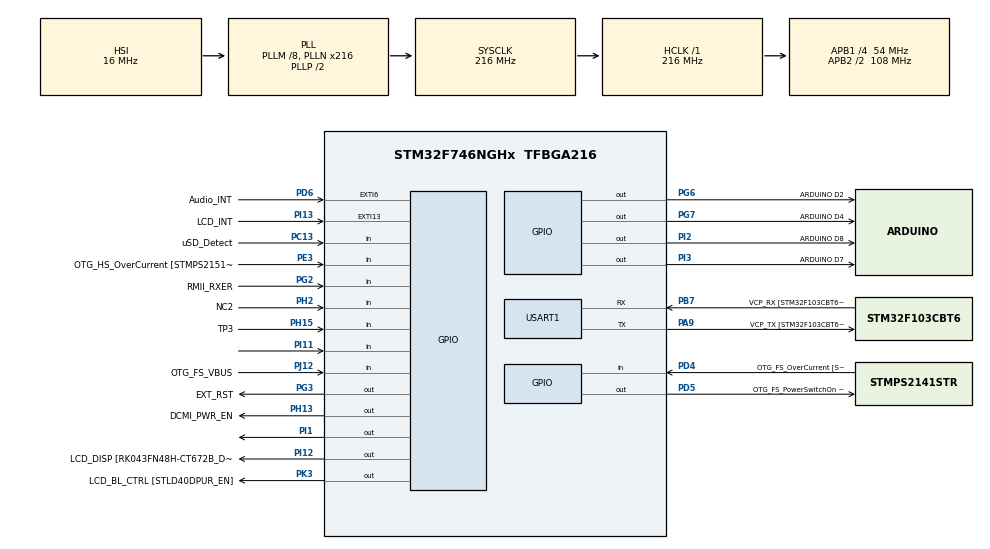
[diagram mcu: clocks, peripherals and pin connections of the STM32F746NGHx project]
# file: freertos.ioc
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FREERTOS.Tasks01=defaultTask,0,128,StartDefaultTask,Default,NULL,Dynamic,NULL,NULL;LEDTASK,0,128,LEDtask,Default,NULL,Dynamic,NULL,NULL;TaskGIVE,-3,128,StartTaskGive,Default,NULL,Dynamic,NULL,NULL;TaskTAKE,-3,128,SartTaskTakes,Default,NULL,Dynamic,NULL,NULL;myTask,-3,128,StartTask,Default,NULL,Dynamic,NULL,NULL
Mcu.Family=STM32F7
Mcu.Name=STM32F746NGHx
Mcu.Package=TFBGA216
NVIC.PriorityGroup=NVIC_PRIORITYGROUP_4
PA0/WKUP.GPIO_Label=ARDUINO A0
PA0/WKUP.GPIO_Mode=GPIO_MODE_ANALOG
PA0/WKUP.GPIO_PuPd=GPIO_NOPULL
PA0/WKUP.Signal=ADCx_IN0
PA1.GPIO_Label=RMII_REF_CLK [LAN8742A-CZ-TR_REFCLK0]
PA1.Signal=ETH_REF_CLK
PA10.GPIO_Label=OTG_FS_ID
PA10.Signal=USB_OTG_FS_ID
PA11.GPIO_Label=OTG_FS_N
PA11.Signal=USB_OTG_FS_DM
PA12.GPIO_Label=OTG_FS_P
PA12.Signal=USB_OTG_FS_DP
PA13.GPIO_Label=SWDIO
PA13.Mode=Trace_Asynchronous_SW
PA13.Signal=SYS_JTMS-SWDIO
PA14.GPIO_Label=SWCLK
PA14.Mode=Trace_Asynchronous_SW
PA14.Signal=SYS_JTCK-SWCLK
PA15.GPIO_Label=ARDUINO PWM/D9
PA15.GPIO_ModeDefaultPP=GPIO_MODE_AF_PP
PA15.GPIO_PuPd=GPIO_NOPULL
PA15.GPIO_Speed=GPIO_SPEED_FREQ_LOW
PA15.Signal=S_TIM2_CH1_ETR
PA4.GPIO_Label=DCMI_HSYNC
PA4.Signal=DCMI_HSYNC
PA5.GPIO_Label=ULPI_CLK [USB3320C-EZK_CLKOUT]
PA5.Signal=USB_OTG_HS_ULPI_CK
PA6.Signal=DCMI_PIXCLK
PA7.GPIO_Label=RMII_CRS_DV [LAN8742A-CZ-TR_CRS_DV]
PA7.Signal=ETH_CRS_DV
PA8.GPIO_Label=ARDUINO PWM/D10
PA8.GPIO_ModeDefaultPP=GPIO_MODE_AF_PP
PA8.GPIO_PuPd=GPIO_NOPULL
PA8.GPIO_Speed=GPIO_SPEED_FREQ_LOW
PA8.Signal=S_TIM1_CH1
PA9.GPIO_Label=VCP_TX [STM32F103CBT6_PA3]
PA9.GPIO_Mode=GPIO_MODE_AF_PP
PA9.GPIO_PuPd=GPIO_NOPULL
PA9.GPIO_Speed=GPIO_SPEED_FREQ_LOW
PA9.Mode=Asynchronous
PA9.Signal=USART1_TX
PB0.GPIO_Label=ULPI_D1 [USB3320C-EZK_D1]
PB0.Signal=USB_OTG_HS_ULPI_D1
PB1.GPIO_Label=ULPI_D2 [USB3320C-EZK_D2]
PB1.Signal=USB_OTG_HS_ULPI_D2
PB10.GPIO_Label=ULPI_D3 [USB3320C-EZK_D3]
PB10.Signal=USB_OTG_HS_ULPI_D3
PB11.GPIO_Label=ULPI_D4 [USB3320C-EZK_D4]
PB11.Signal=USB_OTG_HS_ULPI_D4
PB12.GPIO_Label=ULPI_D5 [USB3320C-EZK_D5]
PB12.Signal=USB_OTG_HS_ULPI_D5
PB13.GPIO_Label=ULPI_D6 [USB3320C-EZK_D6]
PB13.Signal=USB_OTG_HS_ULPI_D6
PB14.GPIO_Label=ARDUINO MISO/D12
PB14.GPIO_Mode=GPIO_MODE_AF_PP
PB14.GPIO_PuPd=GPIO_NOPULL
PB14.GPIO_Speed=GPIO_SPEED_FREQ_LOW
PB14.Signal=SPI2_MISO
PB15.GPIO_Label=ARDUINO MOSI/PWM/D11
PB15.GPIO_Mode=GPIO_MODE_AF_PP
PB15.GPIO_PuPd=GPIO_NOPULL
PB15.GPIO_Speed=GPIO_SPEED_FREQ_LOW
PB15.Signal=SPI2_MOSI
PB2.Signal=QUADSPI_CLK
PB3.GPIO_Label=SWO
PB3.Mode=Trace_Asynchronous_SW
PB3.Signal=SYS_JTDO-SWO
PB4.GPIO_Label=ARDUINO PWM/D3
PB4.GPIO_ModeDefaultPP=GPIO_MODE_AF_PP
PB4.GPIO_PuPd=GPIO_NOPULL
PB4.GPIO_Speed=GPIO_SPEED_FREQ_LOW
PB4.Signal=S_TIM3_CH1
PB5.GPIO_Label=ULPI_D7 [USB3320C-EZK_D7]
PB5.Signal=USB_OTG_HS_ULPI_D7
PB6.GPIO_Label=QSPI_NCS [N25Q128A13EF840E_S]
PB6.Signal=QUADSPI_BK1_NCS
PB7.GPIO_Label=VCP_RX [STM32F103CBT6_PA2]
PB7.GPIO_Mode=GPIO_MODE_AF_PP
PB7.GPIO_PuPd=GPIO_NOPULL
PB7.GPIO_Speed=GPIO_SPEED_FREQ_LOW
PB7.Mode=Asynchronous
PB7.Signal=USART1_RX
PB8.GPIO_Label=ARDUINO SCL/D15
PB8.GPIO_Mode=GPIO_MODE_AF_OD
PB8.GPIO_PuPd=GPIO_NOPULL
PB8.GPIO_Speed=GPIO_SPEED_FREQ_LOW
PB8.Signal=I2C1_SCL
PB9.GPIO_Label=ARDUINO SDA/D14
PB9.GPIO_Mode=GPIO_MODE_AF_OD
PB9.GPIO_PuPd=GPIO_NOPULL
PB9.GPIO_Speed=GPIO_SPEED_FREQ_LOW
PB9.Signal=I2C1_SDA
PC0.GPIO_Label=ULPI_STP [USB3320C-EZK_STP]
PC0.Signal=USB_OTG_HS_ULPI_STP
PC1.GPIO_Label=RMII_MDC [LAN8742A-CZ-TR_MDC]
PC1.Signal=ETH_MDC
PC10.GPIO_Label=SDMMC_D2
PC10.Signal=SDMMC1_D2
PC11.GPIO_Label=SDMMC_D3
PC11.Signal=SDMMC1_D3
PC12.GPIO_Label=SDMMC_CK
PC12.Signal=SDMMC1_CK
PC13.GPIO_Label=uSD_Detect
PC13.Signal=GPIO_Input
PC14/OSC32_IN.GPIO_Label=RCC_OSC32_IN
PC14/OSC32_IN.Signal=RCC_OSC32_IN
PC15/OSC32_OUT.GPIO_Label=RCC_OSC32_OUT
PC15/OSC32_OUT.Signal=RCC_OSC32_OUT
PC2.GPIO_Label=ULPI_DIR [USB3320C-EZK_DIR]
PC2.Signal=USB_OTG_HS_ULPI_DIR
PC3.GPIO_Label=FMC_SDCKE0 [MT48LC4M32B2B5-6A_CKE]
PC3.Signal=FMC_SDCKE0
PC4.GPIO_Label=RMII_RXD0 [LAN8742A-CZ-TR_RXD0]
PC4.Signal=ETH_RXD0
PC5.GPIO_Label=RMII_RXD1 [LAN8742A-CZ-TR_RXD1]
PC5.Signal=ETH_RXD1
PC6.GPIO_Label=ARDUINO TX/D1
PC6.Signal=USART6_TX
PC7.GPIO_Label=ARDUINO RX/D0
PC7.Signal=USART6_RX
PC8.Signal=SDMMC1_D0
PC9.Signal=SDMMC1_D1
PD0.GPIO_Label=FMC_D2 [MT48LC4M32B2B5-6A_DQ2]
PD0.Signal=FMC_D2_DA2
PD1.GPIO_Label=FMC_D3 [MT48LC4M32B2B5-6A_DQ3]
PD1.Signal=FMC_D3_DA3
PD10.GPIO_Label=FMC_D15 [MT48LC4M32B2B5-6A_DQ15]
PD10.Signal=FMC_D15_DA15
PD11.GPIO_Label=QSPI_D0 [N25Q128A13EF840E_DQ0]
PD11.Signal=QUADSPI_BK1_IO0
PD12.GPIO_Label=QSPI_D1 [N25Q128A13EF840E_DQ1]
PD12.Signal=QUADSPI_BK1_IO1
PD13.GPIO_Label=QSPI_D3 [N25Q128A13EF840E_DQ3]
PD13.Signal=QUADSPI_BK1_IO3
PD14.GPIO_Label=FMC_D0 [MT48LC4M32B2B5-6A_DQ0]
PD14.Signal=FMC_D0_DA0
PD15.GPIO_Label=FMC_D1 [MT48LC4M32B2B5-6A_DQ1]
PD15.Signal=FMC_D1_DA1
PD2.GPIO_Label=SDMMC_D0
PD2.Signal=SDMMC1_CMD
PD3.GPIO_Label=DCMI_D5
PD3.Signal=DCMI_D5
PD4.GPIO_Label=OTG_FS_OverCurrent [STMPS2141STR_Fault]
PD4.Signal=GPIO_Input
PD5.GPIO_Label=OTG_FS_PowerSwitchOn [STMPS2141STR_EN]
PD5.PinState=GPIO_PIN_SET
PD5.Signal=GPIO_Output
PD6.GPIO_Label=Audio_INT
PD6.GPIO_ModeDefaultEXTI=GPIO_MODE_EVT_RISING
PD6.Signal=GPXTI6
PD7.GPIO_Label=SPDIF_RX0 [74LVC1G04SE_4]
PD7.Signal=SPDIFRX_IN0
PD8.GPIO_Label=FMC_D13 [MT48LC4M32B2B5-6A_DQ13]
PD8.Signal=FMC_D13_DA13
PD9.GPIO_Label=FMC_D14 [MT48LC4M32B2B5-6A_DQ14]
PD9.Signal=FMC_D14_DA14
PE0.GPIO_Label=FMC_NBL0 [MT48LC4M32B2B5-6A_DQM0]
PE0.Signal=FMC_NBL0
PE1.GPIO_Label=FMC_NBL1 [MT48LC4M32B2B5-6A_DQM1]
PE1.Signal=FMC_NBL1
PE10.GPIO_Label=FMC_D7 [MT48LC4M32B2B5-6A_DQ7]
PE10.Signal=FMC_D7_DA7
PE11.GPIO_Label=FMC_D8 [MT48LC4M32B2B5-6A_DQ8]
PE11.Signal=FMC_D8_DA8
PE12.GPIO_Label=FMC_D9 [MT48LC4M32B2B5-6A_DQ9]
PE12.Signal=FMC_D9_DA9
PE13.GPIO_Label=FMC_D10 [MT48LC4M32B2B5-6A_DQ10]
PE13.Signal=FMC_D10_DA10
PE14.GPIO_Label=FMC_D11 [MT48LC4M32B2B5-6A_DQ11]
PE14.Signal=FMC_D11_DA11
PE15.GPIO_Label=FMC_D12 [MT48LC4M32B2B5-6A_DQ12]
PE15.Signal=FMC_D12_DA12
PE2.GPIO_Label=QSPI_D2 [N25Q128A13EF840E_DQ2]
PE2.Signal=QUADSPI_BK1_IO2
PE3.GPIO_Label=OTG_HS_OverCurrent [STMPS2151STR_FAULT]
PE3.Signal=GPIO_Input
PE4.GPIO_Label=LCD_B0 [RK043FN48H-CT672B_B0]
PE4.Signal=LTDC_B0
PE5.GPIO_Label=DCMI_D6
PE5.Signal=DCMI_D6
PE6.GPIO_Label=DCMI_D7
PE6.Signal=DCMI_D7
PE7.GPIO_Label=FMC_D4 [MT48LC4M32B2B5-6A_DQ4]
PE7.Signal=FMC_D4_DA4
PE8.GPIO_Label=FMC_D5 [MT48LC4M32B2B5-6A_DQ5]
PE8.Signal=FMC_D5_DA5
PE9.GPIO_Label=FMC_D6 [MT48LC4M32B2B5-6A_DQ6]
PE9.Signal=FMC_D6_DA6
PF0.GPIO_Label=FMC_A0 [MT48LC4M32B2B5-6A_A0]
PF0.Signal=FMC_A0
PF1.GPIO_Label=FMC_A1 [MT48LC4M32B2B5-6A_A1]
PF1.Signal=FMC_A1
PF10.GPIO_Label=ARDUINO A1
PF10.GPIO_Mode=GPIO_MODE_ANALOG
PF10.GPIO_PuPd=GPIO_NOPULL
PF10.Signal=ADC3_IN8
PF11.GPIO_Label=FMC_SDNRAS [MT48LC4M32B2B5-6A_RAS]
PF11.Signal=FMC_SDNRAS
PF12.GPIO_Label=FMC_A6 [MT48LC4M32B2B5-6A_A6]
PF12.Signal=FMC_A6
PF13.GPIO_Label=FMC_A7 [MT48LC4M32B2B5-6A_A7]
PF13.Signal=FMC_A7
PF14.GPIO_Label=FMC_A8 [MT48LC4M32B2B5-6A_A8]
PF14.Signal=FMC_A8
PF15.GPIO_Label=FMC_A9 [MT48LC4M32B2B5-6A_A9]
PF15.Signal=FMC_A9
PF2.GPIO_Label=FMC_A2 [MT48LC4M32B2B5-6A_A2]
PF2.Signal=FMC_A2
PF3.GPIO_Label=FMC_A3 [MT48LC4M32B2B5-6A_A3]
PF3.Signal=FMC_A3
PF4.GPIO_Label=FMC_A4 [MT48LC4M32B2B5-6A_A4]
PF4.Signal=FMC_A4
PF5.GPIO_Label=FMC_A5 [MT48LC4M32B2B5-6A_A5]
PF5.Signal=FMC_A5
PF6.GPIO_Label=ARDUINO A5
PF6.GPIO_Mode=GPIO_MODE_ANALOG
PF6.GPIO_PuPd=GPIO_NOPULL
PF6.Signal=ADC3_IN4
PF7.GPIO_Label=ARDUINO A4
PF7.GPIO_Mode=GPIO_MODE_ANALOG
PF7.GPIO_PuPd=GPIO_NOPULL
PF7.Signal=ADC3_IN5
PF8.GPIO_Label=ARDUINO A3
PF8.GPIO_Mode=GPIO_MODE_ANALOG
PF8.GPIO_PuPd=GPIO_NOPULL
PF8.Signal=ADC3_IN6
PF9.GPIO_Label=ARDUINO A2
PF9.GPIO_Mode=GPIO_MODE_ANALOG
PF9.GPIO_PuPd=GPIO_NOPULL
PF9.Signal=ADC3_IN7
PG0.GPIO_Label=FMC_A10 [MT48LC4M32B2B5-6A_A10]
PG0.Signal=FMC_A10
PG1.GPIO_Label=FMC_A11 [MT48LC4M32B2B5-6A_A11]
PG1.Signal=FMC_A11
PG10.GPIO_Label=SAI2_SDB [WM8994ECS/R_ADCDAT1]
PG10.Signal=SAI2_SD_B
PG11.GPIO_Label=RMII_TX_EN [LAN8742A-CZ-TR_TXEN]
PG11.Signal=ETH_TX_EN
PG12.GPIO_Label=LCD_B4 [RK043FN48H-CT672B_B4]
PG12.Signal=LTDC_B4
PG13.GPIO_Label=RMII_TXD0 [LAN8742A-CZ-TR_TXD0]
PG13.Signal=ETH_TXD0
PG14.GPIO_Label=RMII_TXD1 [LAN8742A-CZ-TR_TXD1]
PG14.Signal=ETH_TXD1
PG15.GPIO_Label=FMC_SDNCAS [MT48LC4M32B2B5-6A_CAS]
PG15.Signal=FMC_SDNCAS
PG2.GPIO_Label=RMII_RXER
PG2.Signal=GPIO_Input
PG3.GPIO_Label=EXT_RST
PG3.Signal=GPIO_Output
PG4.GPIO_Label=FMC_BA0 [MT48LC4M32B2B5-6A_BA0]
PG4.Signal=FMC_A14_BA0
PG5.GPIO_Label=FMC_BA1 [MT48LC4M32B2B5-6A_BA1]
PG5.Signal=FMC_A15_BA1
PG6.GPIO_Label=ARDUINO D2
PG6.Signal=GPIO_Output
PG7.GPIO_Label=ARDUINO D4
PG7.Signal=GPIO_Output
PG8.GPIO_Label=FMC_SDCLK [MT48LC4M32B2B5-6A_CLK]
PG8.Signal=FMC_SDCLK
PG9.GPIO_Label=DCMI_VSYNC
PG9.Signal=DCMI_VSYNC
PH0/OSC_IN.GPIO_Label=OSC_25M [NZ2520SB-25.00M_OUT]
PH0/OSC_IN.Mode=HSE-External-Oscillator
PH0/OSC_IN.Signal=RCC_OSC_IN
PH1/OSC_OUT.Mode=HSE-External-Oscillator
PH1/OSC_OUT.Signal=RCC_OSC_OUT
PH10.GPIO_Label=DCMI_D1
PH10.Signal=DCMI_D1
PH11.GPIO_Label=DCMI_D2
PH11.Signal=DCMI_D2
PH12.GPIO_Label=DCMI_D3
PH12.Signal=DCMI_D3
PH13.GPIO_Label=DCMI_PWR_EN
PH13.Signal=GPIO_Output
PH14.GPIO_Label=DCMI_D4
PH14.Signal=DCMI_D4
PH15.GPIO_Label=TP3
PH15.Signal=GPIO_Input
PH2.GPIO_Label=NC2
PH2.Signal=GPIO_Input
PH3.GPIO_Label=FMC_SDNE0 [MT48LC4M32B2B5-6A_CS]
PH3.Signal=FMC_SDNE0
PH4.GPIO_Label=ULPI_NXT [USB3320C-EZK_NXT]
PH4.Signal=USB_OTG_HS_ULPI_NXT
PH5.GPIO_Label=FMC_SDNME [MT48LC4M32B2B5-6A_WE]
PH5.Signal=FMC_SDNWE
PH6.GPIO_Label=ARDUINO PWM/D6
PH6.Signal=S_TIM12_CH1
PH7.GPIO_Label=LCD_SCL [RK043FN48H-CT672B_SCL]
PH7.Signal=I2C3_SCL
PH8.GPIO_Label=LCD_SDA [RK043FN48H-CT672B_SDA]
PH8.Signal=I2C3_SDA
PH9.GPIO_Label=DCMI_D0
PH9.Signal=DCMI_D0
PI0.GPIO_Label=ARDUINO PWM/CS/D5
PI0.GPIO_ModeDefaultPP=GPIO_MODE_AF_PP
PI0.GPIO_PuPd=GPIO_NOPULL
PI0.GPIO_Speed=GPIO_SPEED_FREQ_LOW
PI0.Signal=S_TIM5_CH4
PI1.Signal=GPIO_Output
PI10.GPIO_Label=LCD_HSYNC [RK043FN48H-CT672B_HSYNC]
PI10.Signal=LTDC_HSYNC
PI11.Signal=GPIO_Input
PI12.GPIO_Label=LCD_DISP [RK043FN48H-CT672B_DISP] 
PI12.Signal=GPIO_Output
PI13.GPIO_Label=LCD_INT
PI13.GPIO_ModeDefaultEXTI=GPIO_MODE_EVT_RISING
PI13.Signal=GPXTI13
PI14.GPIO_Label=LCD_CLK [RK043FN48H-CT672B_CLK]
PI14.Signal=LTDC_CLK
PI15.GPIO_Label=LCD_R0 [RK043FN48H-CT672B_R0]
PI15.Signal=LTDC_R0
PI2.GPIO_Label=ARDUINO D8
PI2.Signal=GPIO_Output
PI3.GPIO_Label=ARDUINO D7
PI3.Signal=GPIO_Output
PI4.GPIO_Label=SAI2_MCLKA [WM8994ECS/R_MCLK1]
PI4.Signal=SAI2_MCLK_A
PI5.GPIO_Label=SAI2_SCKA [WM8994ECS/R_BCLK1]
PI5.Signal=SAI2_SCK_A
PI6.GPIO_Label=SAI2_SDA [WM8994ECS/R_DACDAT1]
PI6.Signal=SAI2_SD_A
PI7.GPIO_Label=SAI2_FSA [WM8994ECS/R_LRCLK1]
PI7.Signal=SAI2_FS_A
PI8.GPIO_Label=NC1 [TP2]
PI8.Signal=RTC_TS
PI9.GPIO_Label=LCD_VSYNC [RK043FN48H-CT672B_VSYNC]
PI9.Signal=LTDC_VSYNC
PJ0.GPIO_Label=LCD_R1 [RK043FN48H-CT672B_R1]
PJ0.Signal=LTDC_R1
PJ1.GPIO_Label=LCD_R2 [RK043FN48H-CT672B_R2]
PJ1.Signal=LTDC_R2
PJ10.GPIO_Label=LCD_G3 [RK043FN48H-CT672B_G3]
PJ10.Signal=LTDC_G3
PJ11.GPIO_Label=LCD_G4 [RK043FN48H-CT672B_G4]
PJ11.Signal=LTDC_G4
PJ12.GPIO_Label=OTG_FS_VBUS
PJ12.Signal=GPIO_Input
PJ13.GPIO_Label=LCD_B1 [RK043FN48H-CT672B_B1]
PJ13.Signal=LTDC_B1
PJ14.GPIO_Label=LCD_B2 [RK043FN48H-CT672B_B2]
PJ14.Signal=LTDC_B2
PJ15.GPIO_Label=LCD_B3 [RK043FN48H-CT672B_B3]
PJ15.Signal=LTDC_B3
PJ2.GPIO_Label=LCD_R3 [RK043FN48H-CT672B_R3]
PJ2.Signal=LTDC_R3
PJ3.GPIO_Label=LCD_R4 [RK043FN48H-CT672B_R4]
PJ3.Signal=LTDC_R4
PJ4.GPIO_Label=LCD_R5 [RK043FN48H-CT672B_R5]
PJ4.Signal=LTDC_R5
PJ5.GPIO_Label=LCD_R6 [RK043FN48H-CT672B_R6]
PJ5.Signal=LTDC_R6
PJ6.GPIO_Label=LCD_R7 [RK043FN48H-CT672B_R7]
PJ6.Signal=LTDC_R7
PJ7.GPIO_Label=LCD_G0 [RK043FN48H-CT672B_G0]
PJ7.Signal=LTDC_G0
PJ8.GPIO_Label=LCD_G1 [RK043FN48H-CT672B_G1]
PJ8.Signal=LTDC_G1
PJ9.GPIO_Label=LCD_G2 [RK043FN48H-CT672B_G2]
PJ9.Signal=LTDC_G2
PK0.GPIO_Label=LCD_G5 [RK043FN48H-CT672B_G5]
PK0.Signal=LTDC_G5
PK1.GPIO_Label=LCD_G6 [RK043FN48H-CT672B_G6]
PK1.Signal=LTDC_G6
PK2.GPIO_Label=LCD_G7 [RK043FN48H-CT672B_G7]
PK2.Signal=LTDC_G7
PK3.GPIO_Label=LCD_BL_CTRL [STLD40DPUR_EN]
PK3.Signal=GPIO_Output
PK4.GPIO_Label=LCD_B5 [RK043FN48H-CT672B_B5]
PK4.Signal=LTDC_B5
PK5.GPIO_Label=LCD_B6 [RK043FN48H-CT672B_B6]
PK5.Signal=LTDC_B6
PK6.GPIO_Label=LCD_B7 [RK043FN48H-CT672B_B7]
PK6.Signal=LTDC_B7
PK7.GPIO_Label=LCD_DE [RK043FN48H-CT672B_DE]
PK7.Signal=LTDC_DE
ProjectManager.HeapSize=0x200
ProjectManager.StackSize=0x400
ProjectManager.TargetToolchain=STM32CubeIDE
RCC.AHBFreq_Value=216000000
RCC.APB1CLKDivider=RCC_HCLK_DIV4
RCC.APB1Freq_Value=54000000
RCC.APB1TimFreq_Value=108000000
RCC.APB2CLKDivider=RCC_HCLK_DIV2
RCC.APB2Freq_Value=108000000
RCC.APB2TimFreq_Value=216000000
RCC.CortexFreq_Value=216000000
RCC.HCLKFreq_Value=216000000
RCC.HSE_VALUE=25000000
RCC.HSI_VALUE=16000000
RCC.LSE_VALUE=32768
RCC.PLLM=8
RCC.PLLN=216
RCC.PLLSourceVirtual=RCC_PLLSOURCE_HSI
RCC.SYSCLKFreq_VALUE=216000000
RCC.SYSCLKSource=RCC_SYSCLKSOURCE_PLLCLK
RCC.USBFreq_Value=216000000
RCC.VCOOutputFreq_Value=432000000
SH.ADCx_IN0.0=ADC3_IN0
SH.FMC_A0.0=FMC_A0
SH.FMC_A1.0=FMC_A1
SH.FMC_A10.0=FMC_A10
SH.FMC_A11.0=FMC_A11
SH.FMC_A14_BA0.0=FMC_BA0
SH.FMC_A15_BA1.0=FMC_BA1
SH.FMC_A2.0=FMC_A2
SH.FMC_A3.0=FMC_A3
SH.FMC_A4.0=FMC_A4
SH.FMC_A5.0=FMC_A5
SH.FMC_A6.0=FMC_A6
SH.FMC_A7.0=FMC_A7
SH.FMC_A8.0=FMC_A8
SH.FMC_A9.0=FMC_A9
SH.FMC_D0_DA0.0=FMC_D0
SH.FMC_D10_DA10.0=FMC_D10
SH.FMC_D11_DA11.0=FMC_D11
SH.FMC_D12_DA12.0=FMC_D12
SH.FMC_D13_DA13.0=FMC_D13
SH.FMC_D14_DA14.0=FMC_D14
SH.FMC_D15_DA15.0=FMC_D15
SH.FMC_D1_DA1.0=FMC_D1
SH.FMC_D2_DA2.0=FMC_D2
SH.FMC_D3_DA3.0=FMC_D3
SH.FMC_D4_DA4.0=FMC_D4
SH.FMC_D5_DA5.0=FMC_D5
SH.FMC_D6_DA6.0=FMC_D6
SH.FMC_D7_DA7.0=FMC_D7
SH.FMC_D8_DA8.0=FMC_D8
SH.FMC_D9_DA9.0=FMC_D9
SH.FMC_NBL0.0=FMC_NBL0
SH.FMC_NBL1.0=FMC_NBL1
SH.FMC_SDCLK.0=FMC_SDCLK
SH.FMC_SDNCAS.0=FMC_SDNCAS
SH.FMC_SDNRAS.0=FMC_SDNRAS
SH.FMC_SDNWE.0=FMC_SDNWE
SH.S_TIM12_CH1.0=TIM12_CH1
SH.S_TIM1_CH1.0=TIM1_CH1
SH.S_TIM2_CH1_ETR.0=TIM2_CH1
SH.S_TIM3_CH1.0=TIM3_CH1
SH.S_TIM5_CH4.0=TIM5_CH4
USART1.VirtualMode-Asynchronous=VM_ASYNC
VP_FREERTOS_VS_CMSIS_V1.Mode=CMSIS_V1
board=STM32F746G-DISCO

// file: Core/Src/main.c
/* USER CODE BEGIN Header */
/**
  ******************************************************************************
  * @file           : main.c
  * @brief          : Main program body
  ******************************************************************************
  * @attention
  *
  * Copyright (c) 2025 STMicroelectronics.
  * All rights reserved.
  *
  * This software is licensed under terms that can be found in the LICENSE file
  * in the root directory of this software component.
  * If no LICENSE file comes with this software, it is provided AS-IS.
  *
  ******************************************************************************
  */
/* USER CODE END Header */
#include "main.h"
#include "cmsis_os.h"
#include "usart.h"
#include "gpio.h"

void SystemClock_Config(void);
void MX_FREERTOS_Init(void);

/* USER CODE BEGIN 0 */
int __io_putchar(int ch) {
	HAL_UART_Transmit(&huart1, (uint8_t *)&ch, 1,
	HAL_MAX_DELAY); return ch; }
/* USER CODE END 0 */

int main(void)
{

  /* MCU Configuration--------------------------------------------------------*/

  /* Reset of all peripherals, Initializes the Flash interface and the Systick. */
  HAL_Init();

  /* Configure the system clock */
  SystemClock_Config();

  /* Initialize all configured peripherals */
  MX_GPIO_Init();
  MX_USART1_UART_Init();

  /* Call init function for freertos objects (in cmsis_os2.c) */
  MX_FREERTOS_Init();

  /* Start scheduler */
  osKernelStart();

  /* We should never get here as control is now taken by the scheduler */

  /* Infinite loop */
  while (1)
  {

  }
}

void SystemClock_Config(void)
{
  RCC_OscInitTypeDef RCC_OscInitStruct = {0};
  RCC_ClkInitTypeDef RCC_ClkInitStruct = {0};

  /** Configure the main internal regulator output voltage
  */
  __HAL_RCC_PWR_CLK_ENABLE();
  __HAL_PWR_VOLTAGESCALING_CONFIG(PWR_REGULATOR_VOLTAGE_SCALE1);

  /** Initializes the RCC Oscillators according to the specified parameters
  * in the RCC_OscInitTypeDef structure.
  */
  RCC_OscInitStruct.OscillatorType = RCC_OSCILLATORTYPE_HSI;
  RCC_OscInitStruct.HSIState = RCC_HSI_ON;
  RCC_OscInitStruct.HSICalibrationValue = RCC_HSICALIBRATION_DEFAULT;
  RCC_OscInitStruct.PLL.PLLState = RCC_PLL_ON;
  RCC_OscInitStruct.PLL.PLLSource = RCC_PLLSOURCE_HSI;
  RCC_OscInitStruct.PLL.PLLM = 8;
  RCC_OscInitStruct.PLL.PLLN = 216;
  RCC_OscInitStruct.PLL.PLLP = RCC_PLLP_DIV2;
  RCC_OscInitStruct.PLL.PLLQ = 2;
  if (HAL_RCC_OscConfig(&RCC_OscInitStruct) != HAL_OK)
  {
    Error_Handler();
  }

  /** Activate the Over-Drive mode
  */
  if (HAL_PWREx_EnableOverDrive() != HAL_OK)
  {
    Error_Handler();
  }

  /** Initializes the CPU, AHB and APB buses clocks
  */
  RCC_ClkInitStruct.ClockType = RCC_CLOCKTYPE_HCLK|RCC_CLOCKTYPE_SYSCLK
                              |RCC_CLOCKTYPE_PCLK1|RCC_CLOCKTYPE_PCLK2;
  RCC_ClkInitStruct.SYSCLKSource = RCC_SYSCLKSOURCE_PLLCLK;
  RCC_ClkInitStruct.AHBCLKDivider = RCC_SYSCLK_DIV1;
  RCC_ClkInitStruct.APB1CLKDivider = RCC_HCLK_DIV4;
  RCC_ClkInitStruct.APB2CLKDivider = RCC_HCLK_DIV2;

  if (HAL_RCC_ClockConfig(&RCC_ClkInitStruct, FLASH_LATENCY_7) != HAL_OK)
  {
    Error_Handler();
  }
}

void Error_Handler(void)
{
  __disable_irq();
  while (1)
  {
  }
}

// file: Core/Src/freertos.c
/* USER CODE BEGIN Header */
/**
  ******************************************************************************
  * File Name          : freertos.c
  * Description        : Code for freertos applications
  ******************************************************************************
  * @attention
  *
  * Copyright (c) 2025 STMicroelectronics.
  * All rights reserved.
  *
  * This software is licensed under terms that can be found in the LICENSE file
  * in the root directory of this software component.
  * If no LICENSE file comes with this software, it is provided AS-IS.
  *
  ******************************************************************************
  */
/* USER CODE END Header */

#include "FreeRTOS.h"
#include "task.h"
#include "main.h"

/* USER CODE BEGIN Includes */
#include "usart.h"
#include "stdio.h"
#include "semphr.h"
/* USER CODE END Includes */

/* USER CODE BEGIN PTD */
extern UART_HandleTypeDef huart2;
/* USER CODE END PTD */

/* USER CODE BEGIN PD */
#define STACK_SIZE 256
#define TASK1_PRIORITY 1
#define TASK2_PRIORITY 2
#define TASK1_DELAY 1
#define TASK2_DELAY 2
/* USER CODE END PD */

/* USER CODE BEGIN Variables */
TaskHandle_t defaultTaskHandle;
TaskHandle_t LEDTASKHandle;
TaskHandle_t TaskGIVEHandle;
TaskHandle_t TaskTAKEHandle;
TaskHandle_t myTaskHandle;
SemaphoreHandle_t xMutex;
/* USER CODE END Variables */

/* USER CODE BEGIN FunctionPrototypes */
void task_bug(void * pvParameters);
// void StartDefaultTask(void * argument);
// void LEDtask(void * argument);
// void StartTaskGive(void * argument);
// void StartTaskTake(void * argument);
// void StartTask(void * argument);
/* USER CODE END FunctionPrototypes */

/* USER CODE BEGIN Application */
void MX_FREERTOS_Init(void)
{
    BaseType_t ret;

    /* USER CODE BEGIN Init */
    /* USER CODE END Init */

    /* USER CODE BEGIN RTOS_MUTEX */
    xMutex = xSemaphoreCreateMutex();
    configASSERT(xMutex != NULL);
    /* USER CODE END RTOS_MUTEX */

    /* USER CODE BEGIN RTOS_SEMAPHORES */
    /* USER CODE END RTOS_SEMAPHORES */

    /* USER CODE BEGIN RTOS_QUEUES */
    /* USER CODE END RTOS_QUEUES */

    /* Create the thread(s) */

    /*
    ret = xTaskCreate(StartDefaultTask, "DefaultTask", 128, NULL, 2, &defaultTaskHandle);
    configASSERT(ret == pdPASS);

    ret = xTaskCreate(LEDtask, "LEDTask", 128, NULL, 2, &LEDTASKHandle);
    configASSERT(ret == pdPASS);

    ret = xTaskCreate(StartTaskGive, "TaskGIVE", 128, NULL, 1, &TaskGIVEHandle);
    configASSERT(ret == pdPASS);

    ret = xTaskCreate(StartTaskTake, "TaskTAKE", 128, NULL, 3, &TaskTAKEHandle);
    configASSERT(ret == pdPASS);

    ret = xTaskCreate(StartTask, "SafetyTask", 128, NULL, 1, &myTaskHandle);
    configASSERT(ret == pdPASS);
    */

    /* USER CODE BEGIN RTOS_THREADS */
    ret = xTaskCreate(task_bug, "Tache1", STACK_SIZE, (void *) TASK1_DELAY, TASK1_PRIORITY, NULL);
    configASSERT(ret == pdPASS);

    ret = xTaskCreate(task_bug, "Tache2", STACK_SIZE, (void *) TASK2_DELAY, TASK2_PRIORITY, NULL);
    configASSERT(ret == pdPASS);
    /* USER CODE END RTOS_THREADS */
}
/* USER CODE END Application */

/*
void StartDefaultTask(void * argument)
{
    for(;;)
    {
        vTaskDelay(1);
    }
}
*/

/*
void LEDtask(void * argument)
{
    for(;;)
    {
        HAL_GPIO_TogglePin(GPIOI, GPIO_PIN_1);
        printf("LED toggled!\r\n");
        vTaskDelay(pdMS_TO_TICKS(100));
    }
}
*/

/*
void StartTaskGive(void * argument)
{
    uint32_t delayMs = 100;

    for(;;)
    {
        printf("taskGive : notification envoyée !\r\n");
        xTaskNotifyGive(TaskTAKEHandle);
        vTaskDelay(pdMS_TO_TICKS(delayMs));

        if (delayMs < 2000)
        {
            delayMs += 100;
        }
    }
}
*/

/*
void StartTaskTake(void * argument)
{
    for(;;)
    {
        if (ulTaskNotifyTake(pdTRUE, portMAX_DELAY) > 0)
        {
            printf("taskTake : notification reçue !\r\n");
        }
    }
}
*/

/*
void StartTask(void * argument)
{
    for(;;)
    {
        printf("Sécurité : attente notification 1s...\r\n");

        if (ulTaskNotifyTake(pdTRUE, pdMS_TO_TICKS(1000)) > 0)
        {
            printf("Sécurité : notification reçue !\r\n");
        }
        else
        {
            printf("ERREUR : timeout sans notification -> RESET !\r\n");
            HAL_Delay(100);
            NVIC_SystemReset();
        }
    }
}
*/

/* USER CODE BEGIN Header_task_bug */
/**
  * @brief  Function implementing the task_bug thread.
  * @param  argument: delay in ticks
  * @retval None
  */
/* USER CODE END Header_task_bug */
void task_bug(void * pvParameters)
{
    /* USER CODE BEGIN task_bug */
	TickType_t delay = (TickType_t) pvParameters;

	    for(;;)
	    {
	        xSemaphoreTake(xMutex, portMAX_DELAY);
	        printf("Je suis %s, je dors %lu ticks\r\n", pcTaskGetName(NULL), delay);
	        xSemaphoreGive(xMutex);
	        vTaskDelay(delay);
	    }
    /* USER CODE END task_bug */
}

/* USER CODE BEGIN GET_IDLE_TASK_MEMORY */
static StaticTask_t IdleTaskTCB;
static StackType_t IdleTaskStack[configMINIMAL_STACK_SIZE];

void vApplicationGetIdleTaskMemory(StaticTask_t **ppxIdleTaskTCBBuffer,
                                   StackType_t **ppxIdleTaskStackBuffer,
                                   uint32_t *pulIdleTaskStackSize)
{
    *ppxIdleTaskTCBBuffer = &IdleTaskTCB;
    *ppxIdleTaskStackBuffer = IdleTaskStack;
    *pulIdleTaskStackSize = configMINIMAL_STACK_SIZE;
}
/* USER CODE END GET_IDLE_TASK_MEMORY */
